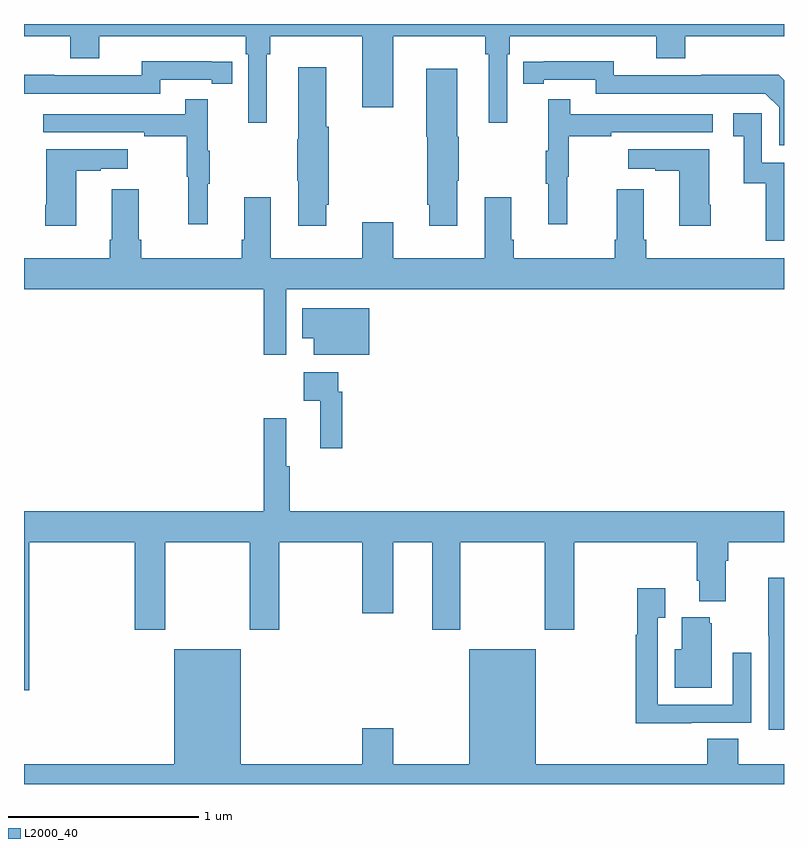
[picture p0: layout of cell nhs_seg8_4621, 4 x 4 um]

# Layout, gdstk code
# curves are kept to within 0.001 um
import gdstk
lib = gdstk.Library(unit=1e-6, precision=1e-09)
def P(c, l, *ps):  # polygons
    for p in ps: c.add(gdstk.Polygon(p, *l))
L2000_40 = (2000, 40)

nhs_seg8_4621 = lib.new_cell('nhs_seg8_4621')
P(nhs_seg8_4621, L2000_40, [(392.278,1113.74),(392.297,1113.74),(392.297,1113.836),(392.78,1113.836),(392.78,1113.462),(392.944,1113.462),(392.944,1113.836),(393.427,1113.836),(393.427,1113.74),(393.446,1113.74),(393.446,1113.381),(393.543,1113.381),(393.543,1113.74),(393.557,1113.74),(393.557,1113.836),(394.328,1113.836),(394.328,1113.719),(394.481,1113.719),(394.481,1113.836),(395,1113.836),(395,1113.9),(391,1113.9),(391,1113.836),(391.244,1113.836),(391.244,1113.719),(391.396,1113.719),(391.396,1113.836),(392.168,1113.836),(392.168,1113.74),(392.181,1113.74),(392.181,1113.381),(392.278,1113.381)],
  [(391.716,1113.606),(391.988,1113.606),(391.988,1113.586),(392.096,1113.586),(392.096,1113.702),(391.988,1113.702),(391.988,1113.703),(391.62,1113.703),(391.62,1113.63),(391.16,1113.63),(391.16,1113.632),(391,1113.632),(391,1113.534),(391.716,1113.534)],
  [(395,1113.604),(394.972,1113.632),(394.564,1113.632),(394.564,1113.63),(394.104,1113.63),(394.104,1113.703),(393.628,1113.702),(393.628,1113.586),(393.736,1113.586),(393.736,1113.606),(394.008,1113.606),(394.008,1113.534),(394.902,1113.534),(394.974,1113.462),(394.974,1113.261),(395,1113.261)],
  [(392.59,1112.95),(392.603,1112.95),(392.603,1113.36),(392.59,1113.36),(392.59,1113.673),(392.444,1113.673),(392.444,1113.293),(392.437,1113.293),(392.437,1113.076),(392.444,1113.076),(392.444,1112.838),(392.59,1112.838)],
  [(393.28,1113.076),(393.288,1113.076),(393.288,1113.306),(393.28,1113.306),(393.28,1113.664),(393.116,1113.664),(393.116,1113.306),(393.122,1113.306),(393.122,1112.95),(393.134,1112.95),(393.134,1112.838),(393.28,1112.838)],
  [(391.967,1113.059),(391.978,1113.059),(391.978,1113.233),(391.967,1113.233),(391.967,1113.505),(391.849,1113.505),(391.849,1113.426),(391.101,1113.426),(391.101,1113.33),(391.633,1113.33),(391.633,1113.31),(391.857,1113.31),(391.857,1113.096),(391.864,1113.096),(391.864,1112.847),(391.967,1112.847)],
  [(393.86,1113.096),(393.868,1113.096),(393.868,1113.31),(394.091,1113.31),(394.091,1113.33),(394.624,1113.33),(394.624,1113.426),(393.875,1113.426),(393.875,1113.505),(393.758,1113.505),(393.758,1113.233),(393.747,1113.233),(393.747,1113.059),(393.758,1113.059),(393.758,1112.847),(393.86,1112.847)],
  [(395,1113.171),(394.884,1113.171),(394.884,1113.43),(394.734,1113.43),(394.734,1113.309),(394.787,1113.309),(394.787,1113.063),(394.905,1113.063),(394.905,1112.76),(395,1112.76)],
  [(394.614,1112.95),(394.606,1112.95),(394.606,1113.241),(394.179,1113.241),(394.179,1113.137),(394.322,1113.137),(394.322,1113.127),(394.448,1113.127),(394.448,1112.838),(394.614,1112.838)],
  [(391.276,1113.127),(391.403,1113.127),(391.403,1113.137),(391.546,1113.137),(391.546,1113.241),(391.118,1113.241),(391.118,1112.95),(391.111,1112.95),(391.111,1112.838),(391.276,1112.838)],
  [(392.379,1112.504),(395,1112.504),(395,1112.668),(394.274,1112.668),(394.274,1112.764),(394.261,1112.764),(394.261,1113.031),(394.121,1113.031),(394.121,1112.764),(394.109,1112.764),(394.109,1112.668),(393.578,1112.668),(393.578,1112.764),(393.565,1112.764),(393.565,1112.989),(393.425,1112.989),(393.425,1112.668),(392.944,1112.668),(392.944,1112.857),(392.78,1112.857),(392.78,1112.668),(392.299,1112.668),(392.299,1112.989),(392.159,1112.989),(392.159,1112.764),(392.147,1112.764),(392.147,1112.668),(391.616,1112.668),(391.616,1112.764),(391.603,1112.764),(391.603,1113.031),(391.463,1113.031),(391.463,1112.764),(391.451,1112.764),(391.451,1112.668),(391,1112.668),(391,1112.504),(392.263,1112.504),(392.263,1112.16),(392.379,1112.16)],
  [(392.818,1112.404),(392.464,1112.404),(392.464,1112.246),(392.525,1112.246),(392.525,1112.159),(392.818,1112.159)],
  [(392.675,1111.964),(392.655,1111.964),(392.655,1112.068),(392.472,1112.068),(392.472,1111.916),(392.558,1111.916),(392.558,1111.668),(392.675,1111.668)],
  [(392.399,1111.572),(392.381,1111.572),(392.381,1111.825),(392.263,1111.825),(392.263,1111.336),(391,1111.336),(391,1110.393),(391.028,1110.393),(391.028,1111.172),(391.583,1111.172),(391.583,1110.711),(391.743,1110.711),(391.743,1111.172),(392.188,1111.172),(392.188,1110.711),(392.343,1110.711),(392.343,1111.172),(392.78,1111.172),(392.78,1110.798),(392.944,1110.798),(392.944,1111.172),(393.149,1111.172),(393.149,1110.711),(393.297,1110.711),(393.297,1111.172),(393.742,1111.172),(393.742,1110.711),(393.897,1110.711),(393.897,1111.172),(394.541,1111.172),(394.541,1110.97),(394.553,1110.97),(394.553,1110.863),(394.693,1110.863),(394.693,1111.076),(394.706,1111.076),(394.706,1111.172),(395,1111.172),(395,1111.336),(392.399,1111.336)],
  [(395,1110.986),(394.918,1110.986),(394.918,1110.679),(394.92,1110.679),(394.92,1110.186),(395,1110.186)],
  [(394.511,1110.222),(394.827,1110.222),(394.827,1110.592),(394.731,1110.592),(394.731,1110.318),(394.335,1110.318),(394.335,1110.775),(394.375,1110.775),(394.375,1110.931),(394.227,1110.931),(394.227,1110.686),(394.219,1110.686),(394.219,1110.221),(394.511,1110.221)],
  [(394.621,1110.747),(394.61,1110.747),(394.61,1110.778),(394.463,1110.778),(394.463,1110.61),(394.424,1110.61),(394.424,1110.407),(394.621,1110.407)],
  [(395,1110.004),(394.76,1110.004),(394.76,1110.137),(394.595,1110.137),(394.595,1110.004),(393.694,1110.004),(393.694,1110.61),(393.344,1110.61),(393.344,1110.004),(392.944,1110.004),(392.944,1110.193),(392.78,1110.193),(392.78,1110.004),(392.14,1110.004),(392.14,1110.61),(391.79,1110.61),(391.79,1110.004),(391,1110.004),(391,1109.9),(395,1109.9)])

lib.write_gds('nhs_seg8_4621.gds')
